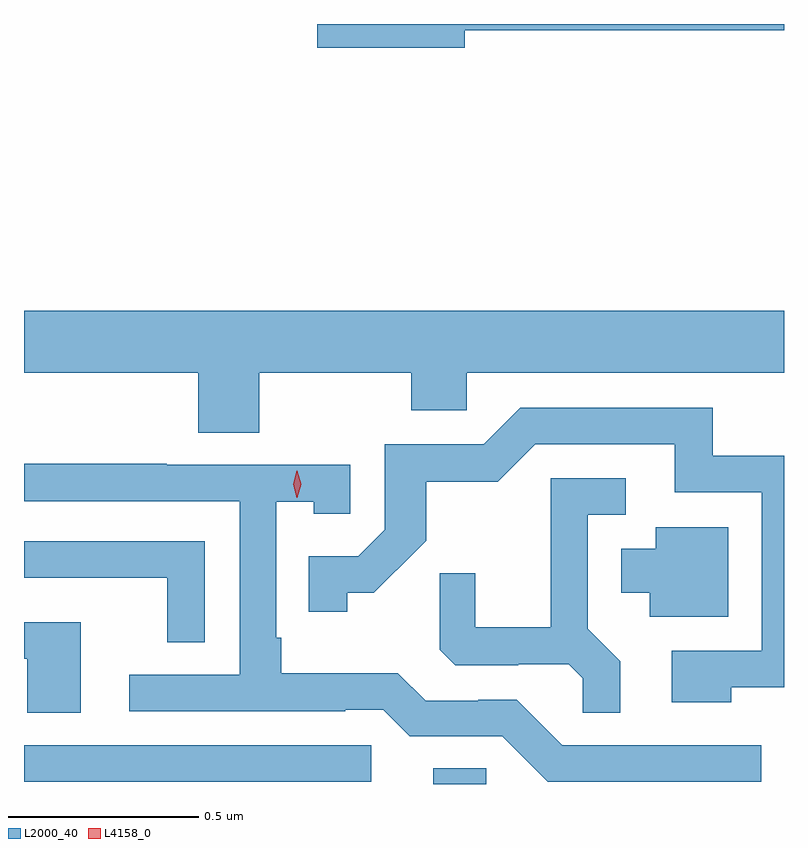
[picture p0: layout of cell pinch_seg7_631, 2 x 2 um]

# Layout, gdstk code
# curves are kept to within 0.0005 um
import gdstk
lib = gdstk.Library(unit=1e-6, precision=1e-09)
def R(c, l, rs):  # rectangles x0, y0, x1, y1
    for r in rs: c.add(gdstk.rectangle(r[:2], r[2:], *l))
def P(c, l, *ps):  # polygons
    for p in ps: c.add(gdstk.Polygon(p, *l))
L2000_40 = (2000, 40)
L4158_0 = (4158, 0)

pinch_seg7_631 = lib.new_cell('pinch_seg7_631')
R(pinch_seg7_631, L2000_40, [(206.045,1031.502,206.184,1031.543), (204.968,1031.508,205.882,1031.604)])
P(pinch_seg7_631, L2000_40, [(206.128,1033.486),(206.968,1033.486),(206.968,1033.502),(205.74,1033.502),(205.74,1033.439),(206.128,1033.439)],
  [(205.587,1032.584),(205.987,1032.584),(205.987,1032.486),(206.133,1032.486),(206.133,1032.584),(206.968,1032.584),(206.968,1032.748),(204.968,1032.748),(204.968,1032.584),(205.427,1032.584),(205.427,1032.427),(205.587,1032.427)],
  [(206.829,1031.757),(206.968,1031.757),(206.968,1032.366),(206.78,1032.366),(206.78,1032.492),(206.274,1032.492),(206.178,1032.396),(205.917,1032.396),(205.917,1032.171),(205.848,1032.102),(205.717,1032.102),(205.717,1031.955),(205.818,1031.955),(205.818,1032.005),(205.888,1032.005),(206.026,1032.142),(206.026,1032.298),(206.215,1032.298),(206.313,1032.396),(206.681,1032.396),(206.681,1032.27),(206.91,1032.27),(206.91,1031.853),(206.673,1031.853),(206.673,1031.717),(206.829,1031.717)],
  [(206.908,1031.604),(206.385,1031.604),(206.265,1031.724),(206.164,1031.724),(206.164,1031.721),(206.025,1031.721),(205.952,1031.794),(205.645,1031.794),(205.645,1031.887),(205.632,1031.887),(205.632,1032.245),(205.731,1032.245),(205.731,1032.213),(205.827,1032.213),(205.827,1032.342),(205.343,1032.342),(205.343,1032.345),(204.968,1032.345),(204.968,1032.246),(205.536,1032.246),(205.536,1031.79),(205.245,1031.79),(205.245,1031.694),(205.814,1031.694),(205.814,1031.697),(205.914,1031.697),(205.983,1031.628),(206.226,1031.628),(206.346,1031.508),(206.908,1031.508)],
  [(206.537,1031.825),(206.451,1031.911),(206.451,1032.21),(206.551,1032.21),(206.551,1032.306),(206.354,1032.306),(206.354,1031.914),(206.156,1031.914),(206.156,1032.057),(206.062,1032.057),(206.062,1031.855),(206.103,1031.814),(206.268,1031.814),(206.268,1031.817),(206.402,1031.817),(206.439,1031.78),(206.439,1031.689),(206.537,1031.689)],
  [(206.821,1032.178),(206.63,1032.178),(206.63,1032.121),(206.54,1032.121),(206.54,1032.005),(206.615,1032.005),(206.615,1031.942),(206.821,1031.942)],
  [(205.443,1032.141),(204.968,1032.141),(204.968,1032.045),(205.345,1032.045),(205.345,1031.875),(205.443,1031.875)],
  [(205.117,1031.928),(204.968,1031.928),(204.968,1031.832),(204.977,1031.832),(204.977,1031.689),(205.117,1031.689)])
P(pinch_seg7_631, L4158_0, [(205.686,1032.255),(205.677,1032.291),(205.686,1032.327),(205.687,1032.327),(205.687,1032.327),(205.697,1032.291),(205.687,1032.255),(205.687,1032.255)])

lib.write_gds('pinch_seg7_631.gds')
